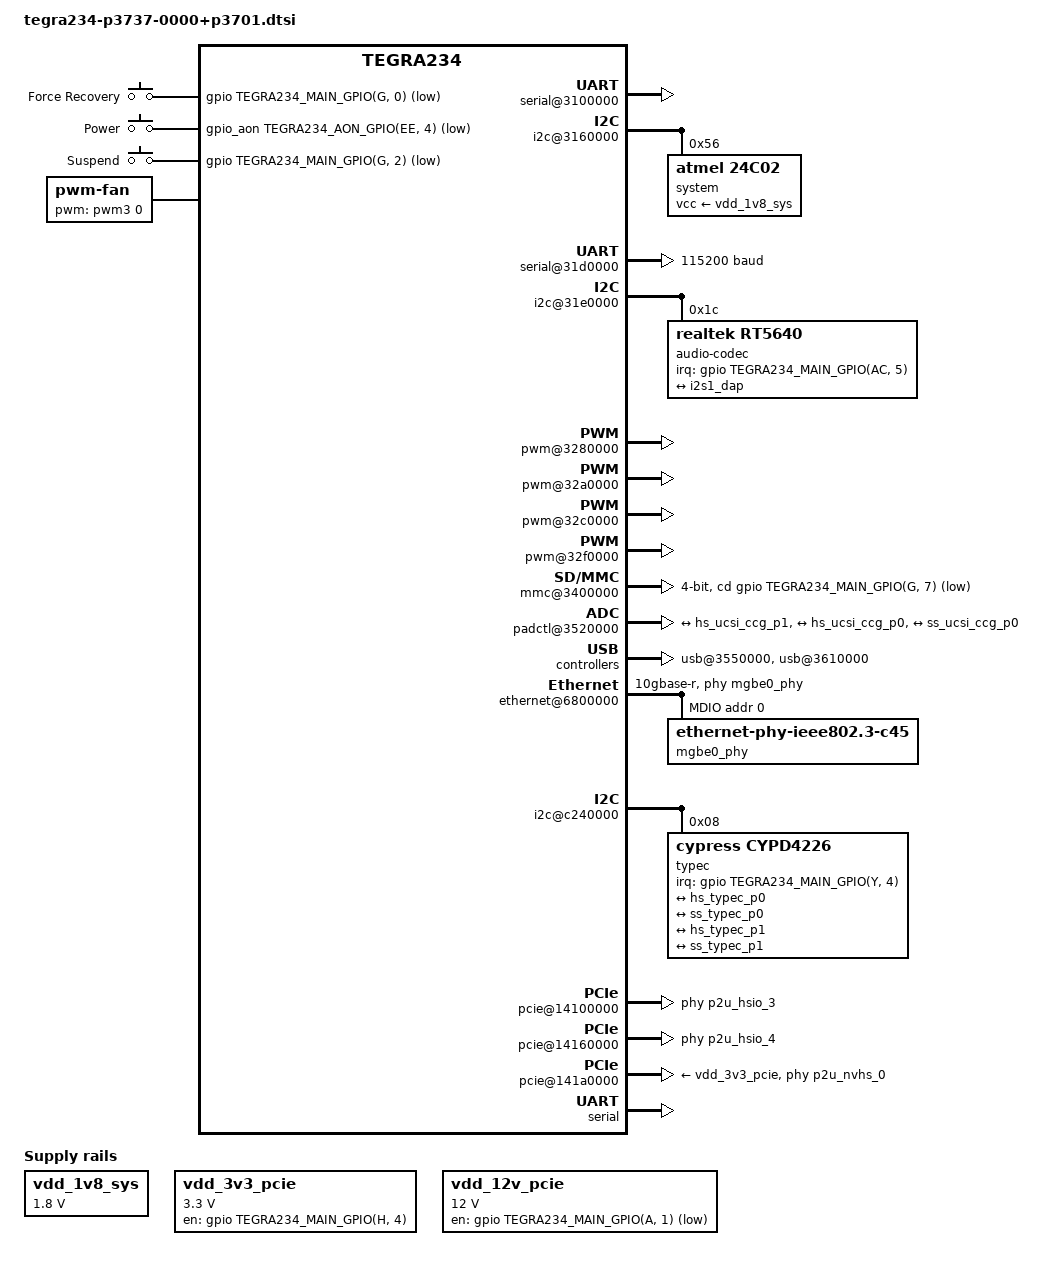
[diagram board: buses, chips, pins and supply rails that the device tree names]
// SPDX-License-Identifier: GPL-2.0

#include <dt-bindings/clock/tegra234-clock.h>
#include <dt-bindings/gpio/tegra234-gpio.h>
#include <dt-bindings/input/linux-event-codes.h>
#include <dt-bindings/input/gpio-keys.h>
#include <dt-bindings/sound/rt5640.h>

/ {
	aliases {
		serial0 = &tcu;
		serial1 = &uarta;
	};

	chosen {
		bootargs = "console=ttyTCU0,115200n8";
		stdout-path = "serial0:115200n8";
	};

	bus@0 {
		aconnect@2900000 {
			ahub@2900800 {
				i2s@2901000 {
					ports {
						port@1 {
							endpoint {
								dai-format = "i2s";
								remote-endpoint = <&rt5640_ep>;
							};
						};
					};
				};
			};
		};

		serial@3100000 {
			compatible = "nvidia,tegra194-hsuart";
			reset-names = "serial";
			status = "okay";
		};

		i2c@3160000 {
			status = "okay";

			eeprom@56 {
				compatible = "atmel,24c02";
				reg = <0x56>;

				label = "system";
				vcc-supply = <&vdd_1v8_sys>;
				address-width = <8>;
				pagesize = <8>;
				size = <256>;
				read-only;
			};
		};

		serial@31d0000 {
			current-speed = <115200>;
			status = "okay";
		};

		i2c@31e0000 {
			status = "okay";

			audio-codec@1c {
				compatible = "realtek,rt5640";
				reg = <0x1c>;
				interrupt-parent = <&gpio>;
				interrupts = <TEGRA234_MAIN_GPIO(AC, 5) GPIO_ACTIVE_HIGH>;
				clocks = <&bpmp TEGRA234_CLK_AUD_MCLK>;
				clock-names = "mclk";
				realtek,dmic1-data-pin = <RT5640_DMIC1_DATA_PIN_NONE>;
				realtek,dmic2-data-pin = <RT5640_DMIC2_DATA_PIN_NONE>;
				realtek,jack-detect-source = <RT5640_JD_SRC_HDA_HEADER>;
				sound-name-prefix = "CVB-RT";

				port {
					rt5640_ep: endpoint {
						remote-endpoint = <&i2s1_dap>;
						mclk-fs = <256>;
					};
				};
			};
		};

		pwm@3280000 {
			status = "okay";
		};

		pwm@32a0000 {
			assigned-clocks = <&bpmp TEGRA234_CLK_PWM3>;
			assigned-clock-parents = <&bpmp TEGRA234_CLK_PLLP_OUT0>;
			status = "okay";
		};

		pwm@32c0000 {
			status = "okay";
		};

		pwm@32f0000 {
			status = "okay";
		};

		mmc@3400000 {
			status = "okay";
			bus-width = <4>;
			cd-gpios = <&gpio TEGRA234_MAIN_GPIO(G, 7) GPIO_ACTIVE_LOW>;
			disable-wp;
		};

		hda@3510000 {
			nvidia,model = "NVIDIA Jetson AGX Orin HDA";
			status = "okay";
		};

		padctl@3520000 {
			status = "okay";

			pads {
				usb2 {
					lanes {
						usb2-0 {
							status = "okay";
						};

						usb2-1 {
							status = "okay";
						};

						usb2-2 {
							status = "okay";
						};

						usb2-3 {
							status = "okay";
						};
					};
				};

				usb3 {
					lanes {
						usb3-0 {
							status = "okay";
						};

						usb3-1 {
							status = "okay";
						};

						usb3-2 {
							status = "okay";
						};
					};
				};
			};

			ports {
				usb2-0 {
					mode = "otg";
					usb-role-switch;
					status = "okay";

					port {
						hs_typec_p1: endpoint {
							remote-endpoint = <&hs_ucsi_ccg_p1>;
						};
					};
				};

				usb2-1 {
					mode = "host";
					status = "okay";

					port {
						hs_typec_p0: endpoint {
							remote-endpoint = <&hs_ucsi_ccg_p0>;
						};
					};
				};

				usb2-2 {
					mode = "host";
					status = "okay";
				};

				usb2-3 {
					mode = "host";
					status = "okay";
				};

				usb3-0 {
					nvidia,usb2-companion = <1>;
					status = "okay";

					port {
						ss_typec_p0: endpoint {
							remote-endpoint = <&ss_ucsi_ccg_p0>;
						};
					};
				};

				usb3-1 {
					nvidia,usb2-companion = <0>;
					status = "okay";

					port {
						ss_typec_p1: endpoint {
							remote-endpoint = <&ss_ucsi_ccg_p1>;
						};
					};
				};

				usb3-2 {
					nvidia,usb2-companion = <3>;
					status = "okay";
				};
			};
		};

		usb@3550000 {
			status = "okay";

			phys = <&{/bus@0/padctl@3520000/pads/usb2/lanes/usb2-0}>,
			       <&{/bus@0/padctl@3520000/pads/usb3/lanes/usb3-1}>;
			phy-names = "usb2-0", "usb3-0";
		};

		usb@3610000 {
			status = "okay";

			phys = <&{/bus@0/padctl@3520000/pads/usb2/lanes/usb2-0}>,
			       <&{/bus@0/padctl@3520000/pads/usb2/lanes/usb2-1}>,
			       <&{/bus@0/padctl@3520000/pads/usb2/lanes/usb2-2}>,
			       <&{/bus@0/padctl@3520000/pads/usb2/lanes/usb2-3}>,
			       <&{/bus@0/padctl@3520000/pads/usb3/lanes/usb3-0}>,
			       <&{/bus@0/padctl@3520000/pads/usb3/lanes/usb3-1}>,
			       <&{/bus@0/padctl@3520000/pads/usb3/lanes/usb3-2}>;
			phy-names = "usb2-0", "usb2-1", "usb2-2", "usb2-3",
				    "usb3-0", "usb3-1", "usb3-2";
		};

		ethernet@6800000 {
			status = "okay";

			phy-handle = <&mgbe0_phy>;
			phy-mode = "10gbase-r";

			mdio {
				#address-cells = <1>;
				#size-cells = <0>;

				mgbe0_phy: phy@0 {
					compatible = "ethernet-phy-ieee802.3-c45";
					reg = <0x0>;

					#phy-cells = <0>;
				};
			};
		};

		i2c@c240000 {
			status = "okay";

			typec@8 {
				compatible = "cypress,cypd4226";
				reg = <0x08>;
				interrupt-parent = <&gpio>;
				interrupts = <TEGRA234_MAIN_GPIO(Y, 4) IRQ_TYPE_LEVEL_LOW>;
				firmware-name = "nvidia,jetson-agx-xavier";
				status = "okay";

				#address-cells = <1>;
				#size-cells = <0>;

				ccg_typec_con0: connector@0 {
					compatible = "usb-c-connector";
					reg = <0>;
					label = "USB-C";
					data-role = "host";

					ports {
						#address-cells = <1>;
						#size-cells = <0>;

						port@0 {
							reg = <0>;

							hs_ucsi_ccg_p0: endpoint {
								remote-endpoint = <&hs_typec_p0>;
							};
						};

						port@1 {
							reg = <1>;

							ss_ucsi_ccg_p0: endpoint {
								remote-endpoint = <&ss_typec_p0>;
							};
						};
					};
				};

				ccg_typec_con1: connector@1 {
					compatible = "usb-c-connector";
					reg = <1>;
					label = "USB-C";
					data-role = "dual";

					ports {
						#address-cells = <1>;
						#size-cells = <0>;

						port@0 {
							reg = <0>;

							hs_ucsi_ccg_p1: endpoint {
								remote-endpoint = <&hs_typec_p1>;
							};
						};

						port@1 {
							reg = <1>;

							ss_ucsi_ccg_p1: endpoint {
								remote-endpoint = <&ss_typec_p1>;
							};
						};
					};
				};
			};
		};

		pcie@14100000 {
			status = "okay";

			vddio-pex-ctl-supply = <&vdd_1v8_ao>;

			phys = <&p2u_hsio_3>;
			phy-names = "p2u-0";
		};

		pcie@14160000 {
			status = "okay";

			vddio-pex-ctl-supply = <&vdd_1v8_ao>;

			phys = <&p2u_hsio_4>, <&p2u_hsio_5>, <&p2u_hsio_6>,
			       <&p2u_hsio_7>;
			phy-names = "p2u-0", "p2u-1", "p2u-2", "p2u-3";
		};

		pcie@141a0000 {
			status = "okay";

			vddio-pex-ctl-supply = <&vdd_1v8_ls>;
			vpcie3v3-supply = <&vdd_3v3_pcie>;
			vpcie12v-supply = <&vdd_12v_pcie>;

			phys = <&p2u_nvhs_0>, <&p2u_nvhs_1>, <&p2u_nvhs_2>,
			       <&p2u_nvhs_3>, <&p2u_nvhs_4>, <&p2u_nvhs_5>,
			       <&p2u_nvhs_6>, <&p2u_nvhs_7>;
			phy-names = "p2u-0", "p2u-1", "p2u-2", "p2u-3", "p2u-4",
				    "p2u-5", "p2u-6", "p2u-7";
		};

		pcie-ep@141a0000 {
			status = "disabled";

			vddio-pex-ctl-supply = <&vdd_1v8_ls>;

			reset-gpios = <&gpio TEGRA234_MAIN_GPIO(AF, 1) GPIO_ACTIVE_LOW>;

			nvidia,refclk-select-gpios = <&gpio_aon
						      TEGRA234_AON_GPIO(AA, 4)
						      GPIO_ACTIVE_HIGH>;

			phys = <&p2u_nvhs_0>, <&p2u_nvhs_1>, <&p2u_nvhs_2>,
			       <&p2u_nvhs_3>, <&p2u_nvhs_4>, <&p2u_nvhs_5>,
			       <&p2u_nvhs_6>, <&p2u_nvhs_7>;
			phy-names = "p2u-0", "p2u-1", "p2u-2", "p2u-3", "p2u-4",
				    "p2u-5", "p2u-6", "p2u-7";
		};
	};

	gpio-keys {
		compatible = "gpio-keys";
		status = "okay";

		key-force-recovery {
			label = "Force Recovery";
			gpios = <&gpio TEGRA234_MAIN_GPIO(G, 0) GPIO_ACTIVE_LOW>;
			linux,input-type = <EV_KEY>;
			linux,code = <BTN_1>;
		};

		key-power {
			label = "Power";
			gpios = <&gpio_aon TEGRA234_AON_GPIO(EE, 4) GPIO_ACTIVE_LOW>;
			linux,input-type = <EV_KEY>;
			linux,code = <KEY_POWER>;
			wakeup-event-action = <EV_ACT_ASSERTED>;
			wakeup-source;
		};

		key-suspend {
			label = "Suspend";
			gpios = <&gpio TEGRA234_MAIN_GPIO(G, 2) GPIO_ACTIVE_LOW>;
			linux,input-type = <EV_KEY>;
			linux,code = <KEY_SLEEP>;
		};
	};

	fan: pwm-fan {
		compatible = "pwm-fan";
		cooling-levels = <66 215 255>;
		pwms = <&pwm3 0 45334>;
		#cooling-cells = <2>;
	};

	serial {
		status = "okay";
	};

	sound {
		compatible = "nvidia,tegra186-audio-graph-card";
		status = "okay";

		dais = /* ADMAIF (FE) Ports */
		       <&admaif0_port>, <&admaif1_port>, <&admaif2_port>, <&admaif3_port>,
		       <&admaif4_port>, <&admaif5_port>, <&admaif6_port>, <&admaif7_port>,
		       <&admaif8_port>, <&admaif9_port>, <&admaif10_port>, <&admaif11_port>,
		       <&admaif12_port>, <&admaif13_port>, <&admaif14_port>, <&admaif15_port>,
		       <&admaif16_port>, <&admaif17_port>, <&admaif18_port>, <&admaif19_port>,
		       /* XBAR Ports */
		       <&xbar_i2s1_port>, <&xbar_i2s2_port>, <&xbar_i2s4_port>,
		       <&xbar_i2s6_port>, <&xbar_dmic3_port>,
		       <&xbar_sfc1_in_port>, <&xbar_sfc2_in_port>,
		       <&xbar_sfc3_in_port>, <&xbar_sfc4_in_port>,
		       <&xbar_mvc1_in_port>, <&xbar_mvc2_in_port>,
		       <&xbar_amx1_in1_port>, <&xbar_amx1_in2_port>,
		       <&xbar_amx1_in3_port>, <&xbar_amx1_in4_port>,
		       <&xbar_amx2_in1_port>, <&xbar_amx2_in2_port>,
		       <&xbar_amx2_in3_port>, <&xbar_amx2_in4_port>,
		       <&xbar_amx3_in1_port>, <&xbar_amx3_in2_port>,
		       <&xbar_amx3_in3_port>, <&xbar_amx3_in4_port>,
		       <&xbar_amx4_in1_port>, <&xbar_amx4_in2_port>,
		       <&xbar_amx4_in3_port>, <&xbar_amx4_in4_port>,
		       <&xbar_adx1_in_port>, <&xbar_adx2_in_port>,
		       <&xbar_adx3_in_port>, <&xbar_adx4_in_port>,
		       <&xbar_mix_in1_port>, <&xbar_mix_in2_port>,
		       <&xbar_mix_in3_port>, <&xbar_mix_in4_port>,
		       <&xbar_mix_in5_port>, <&xbar_mix_in6_port>,
		       <&xbar_mix_in7_port>, <&xbar_mix_in8_port>,
		       <&xbar_mix_in9_port>, <&xbar_mix_in10_port>,
		       <&xbar_asrc_in1_port>, <&xbar_asrc_in2_port>,
		       <&xbar_asrc_in3_port>, <&xbar_asrc_in4_port>,
		       <&xbar_asrc_in5_port>, <&xbar_asrc_in6_port>,
		       <&xbar_asrc_in7_port>,
		       <&xbar_ope1_in_port>,
		       /* HW accelerators */
		       <&sfc1_out_port>, <&sfc2_out_port>,
		       <&sfc3_out_port>, <&sfc4_out_port>,
		       <&mvc1_out_port>, <&mvc2_out_port>,
		       <&amx1_out_port>, <&amx2_out_port>,
		       <&amx3_out_port>, <&amx4_out_port>,
		       <&adx1_out1_port>, <&adx1_out2_port>,
		       <&adx1_out3_port>, <&adx1_out4_port>,
		       <&adx2_out1_port>, <&adx2_out2_port>,
		       <&adx2_out3_port>, <&adx2_out4_port>,
		       <&adx3_out1_port>, <&adx3_out2_port>,
		       <&adx3_out3_port>, <&adx3_out4_port>,
		       <&adx4_out1_port>, <&adx4_out2_port>,
		       <&adx4_out3_port>, <&adx4_out4_port>,
		       <&mix_out1_port>, <&mix_out2_port>, <&mix_out3_port>,
		       <&mix_out4_port>, <&mix_out5_port>,
		       <&asrc_out1_port>, <&asrc_out2_port>, <&asrc_out3_port>,
		       <&asrc_out4_port>, <&asrc_out5_port>, <&asrc_out6_port>,
		       <&ope1_out_port>,
		       /* BE I/O Ports */
		       <&i2s1_port>, <&i2s2_port>, <&i2s4_port>, <&i2s6_port>,
		       <&dmic3_port>;

		label = "NVIDIA Jetson AGX Orin APE";

		widgets = "Microphone",	"CVB-RT MIC Jack",
			  "Microphone",	"CVB-RT MIC",
			  "Headphone",	"CVB-RT HP Jack",
			  "Speaker",	"CVB-RT SPK";

		routing = /* I2S1 <-> RT5640 */
			  "CVB-RT AIF1 Playback",	"I2S1 DAP-Playback",
			  "I2S1 DAP-Capture",		"CVB-RT AIF1 Capture",
			  /* RT5640 codec controls */
			  "CVB-RT HP Jack",		"CVB-RT HPOL",
			  "CVB-RT HP Jack",		"CVB-RT HPOR",
			  "CVB-RT IN1P",		"CVB-RT MIC Jack",
			  "CVB-RT IN2P",		"CVB-RT MIC Jack",
			  "CVB-RT SPK",			"CVB-RT SPOLP",
			  "CVB-RT SPK",			"CVB-RT SPORP",
			  "CVB-RT DMIC1",		"CVB-RT MIC",
			  "CVB-RT DMIC2",		"CVB-RT MIC";
	};

	thermal-zones {
		tj-thermal {
			cooling-maps {
				map-active-0 {
					cooling-device = <&fan 0 1>;
					trip = <&tj_trip_active0>;
				};

				map-active-1 {
					cooling-device = <&fan 1 2>;
					trip = <&tj_trip_active1>;
				};
			};
		};
	};

	vdd_1v8_sys: regulator-vdd-1v8-sys {
		compatible = "regulator-fixed";
		regulator-name = "VDD_1V8_SYS";
		regulator-min-microvolt = <1800000>;
		regulator-max-microvolt = <1800000>;
		regulator-always-on;
	};

	vdd_3v3_pcie: regulator-vdd-3v3-pcie {
		compatible = "regulator-fixed";
		regulator-name = "VDD_3V3_PCIE";
		regulator-min-microvolt = <3300000>;
		regulator-max-microvolt = <3300000>;
		gpio = <&gpio TEGRA234_MAIN_GPIO(H, 4) GPIO_ACTIVE_HIGH>;
		regulator-boot-on;
		enable-active-high;
	};

	vdd_12v_pcie: regulator-vdd-12v-pcie {
		compatible = "regulator-fixed";
		regulator-name = "VDD_12V_PCIE";
		regulator-min-microvolt = <12000000>;
		regulator-max-microvolt = <12000000>;
		gpio = <&gpio TEGRA234_MAIN_GPIO(A, 1) GPIO_ACTIVE_LOW>;
		regulator-boot-on;
	};
};
